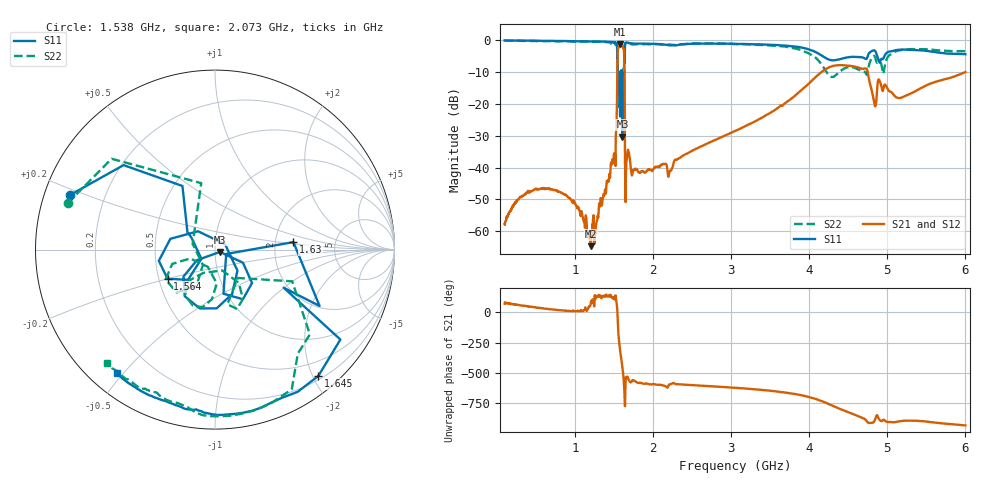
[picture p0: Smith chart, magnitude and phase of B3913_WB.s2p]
! Matrix data file written by TouchstoneData, EPCOS AG
! FILENAME: "LY31A_WB.snp"
! COMMENT: "(LY31A_1_WB.s2p) EPCOS AG 27.09.2010 09:56:4"
! INFO: nport=2, nfreq=1601
! DATE: "Tue Oct 19 15:52:21 2010"
! USER: "Michael Schemies"
! port | pin | signal
!  1  |  2  |  in
!  2  |  5  |  out
# MHZ S MA R 50
! freq  magS11 angS11  magS21 angS21  magS12 angS12  magS22 angS22
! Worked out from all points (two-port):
!   1601 points, 100 MHz to 6 GHz, reference 50 ohm
!   highest |S21| = -1.17 dB at 1.579 GHz (marker M1); lowest = -64.7 dB at 1.203 GHz (marker M2)
!   |S21| within 3 dB of the highest: 1.548 GHz to 1.63 GHz (81.81 MHz wide, 5.15 % of centre)
!   lowest |S11| = -30.2 dB at 1.608 GHz (marker M3), VSWR 1.06, Z = 52.9 - j1.36 ohm
!   |S11| at or under -10 dB: 1.547 GHz to 1.566 GHz (19.84 MHz wide, 1.27 % of centre); 1.568 GHz to 1.589 GHz (21.36 MHz wide, 1.35 % of centre); 1.596 GHz to 1.619 GHz (22.88 MHz wide, 1.42 % of centre) (the widest 3 of 4)
!   |S22| runs from -19.6 to -0.1 dB; largest |S21 - S12| = 0.0031
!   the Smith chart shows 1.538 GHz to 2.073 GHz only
!   S11 on the Smith chart (normalised r, x): 1.538 GHz: 0.08, +0.18; 1.564 GHz: 0.56, -0.20; 1.63 GHz: 2.53, +0.26; 1.645 GHz: 0.26, -2.09; 2.073 GHz: 0.08, -0.48
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100  0.9966 -10.1  0.001295 71.1  0.001302 69.8  0.993 -10.8
579.375  0.9845 -55.6  0.004636 33.4  0.004635 33.4  0.9697 -58.0
1084.562  0.9677 -94.7  0.002065 13.6  0.002078 13.8  0.9619 -98.0
1202.562  0.9638 -103.6  0.000581 67.6  0.000599 67.3  0.956 -107.0
1490.188  0.934 -143.4  0.01174 121.9  0.01173 121.9  0.9002 -143.3
1538.125  0.8623 159.3  0.09265 57.2  0.09271 57.2  0.8609 162.6
1563.938  0.3101 -148.3  0.7852 130.1  0.7853 130.1  0.3203 -131.8
1578.688  0.06357 27.8  0.8739 46.3  0.8747 46.3  0.1042 -112.5
1608.188  0.03079 -24.8  0.8357 -93.6  0.8358 -93.7  0.1229 -70.8
1630.312  0.4389 5.5  0.6056 103.4  0.6058 103.4  0.4653 -22.3
1645.062  0.9094 -50.7  0.0049 50.0  0.004893 50.0  0.9123 -70.1
1670.875  0.9221 -82.7  0.0155 -171.2  0.01549 -171.3  0.9155 -96.5
1740.938  0.8938 -104.6  0.008407 160.7  0.008384 160.8  0.8614 -112.3
2069.125  0.8764 -128.3  0.01045 120.3  0.01045 120.3  0.8708 -133.4
2072.812  0.8755 -128.5  0.01041 119.6  0.01042 119.5  0.8701 -133.5
3050  0.8809 -163.8  0.03759 96.5  0.03762 96.5  0.8776 -166.1
4034.562  0.6958 146.9  0.2327 14.4  0.2327 14.3  0.5859 141.1
4429.125  0.52 152.2  0.4078 -87.0  0.4074 -87.0  0.3504 173.9
4720.438  0.5142 146.3  0.3617 -166.6  0.3613 -166.6  0.309 177.4
4834.75  0.697 134.2  0.09976 -178.3  0.0998 -178.4  0.5673 173.5
5019.125  0.6658 137.7  0.1615 174.1  0.1615 174.1  0.5736 -173.6
6000  0.6056 42.1  0.3177 145.6  0.318 145.6  0.6774 105.8
